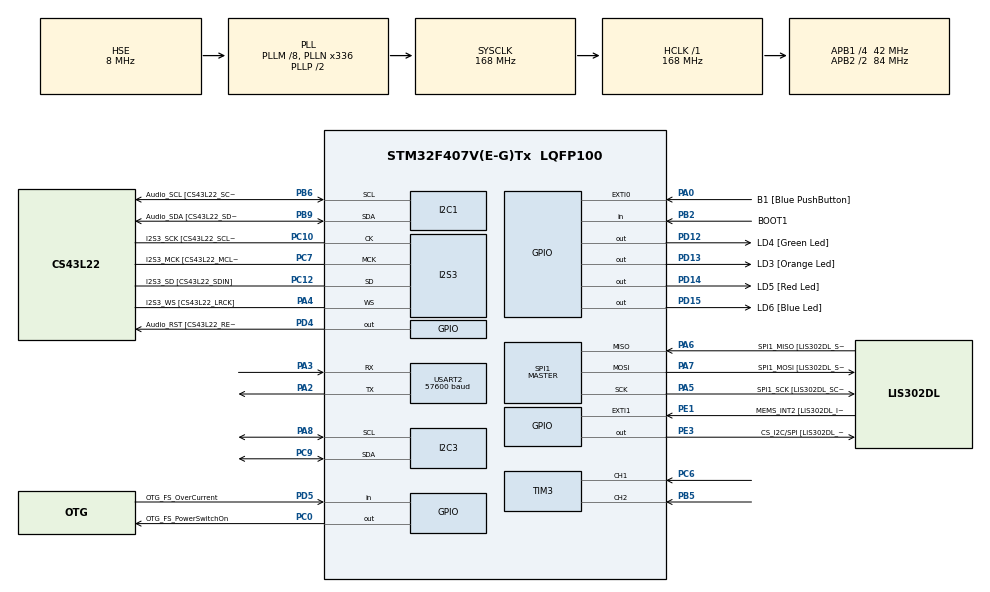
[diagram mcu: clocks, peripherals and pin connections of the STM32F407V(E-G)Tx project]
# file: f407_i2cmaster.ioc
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I2S3.AudioFreq-Half_Duplex_Master=I2S_AUDIOFREQ_96K
I2S3.ErrorAudioFreq=-2.34 %
I2S3.ErrorAudioFreq-Half_Duplex_Master=0.8 %
I2S3.FullDuplexMode=I2S_FULLDUPLEXMODE_DISABLE
I2S3.Instance=SPI$Index
I2S3.RealAudioFreq=93.75 KHz
I2S3.RealAudioFreq-Half_Duplex_Master=96.774 KHz
I2S3.VirtualMode=I2S_MODE_MASTER
Mcu.Family=STM32F4
Mcu.Name=STM32F407V(E-G)Tx
Mcu.Package=LQFP100
NVIC.PriorityGroup=NVIC_PRIORITYGROUP_0
PA0-WKUP.GPIO_Label=B1 [Blue PushButton]
PA0-WKUP.GPIO_ModeDefaultEXTI=GPIO_MODE_EVT_RISING
PA0-WKUP.GPIO_PuPd=GPIO_NOPULL
PA0-WKUP.Signal=GPXTI0
PA10.GPIO_Label=OTG_FS_ID
PA10.GPIO_Mode=GPIO_MODE_AF_PP
PA10.GPIO_PuPd=GPIO_NOPULL
PA10.GPIO_Speed=GPIO_SPEED_FREQ_LOW
PA10.Signal=USB_OTG_FS_ID
PA11.GPIO_Label=OTG_FS_DM
PA11.GPIO_Mode=GPIO_MODE_AF_PP
PA11.GPIO_PuPd=GPIO_NOPULL
PA11.GPIO_Speed=GPIO_SPEED_FREQ_LOW
PA11.Signal=USB_OTG_FS_DM
PA12.GPIO_Label=OTG_FS_DP
PA12.GPIO_Mode=GPIO_MODE_AF_PP
PA12.GPIO_PuPd=GPIO_NOPULL
PA12.GPIO_Speed=GPIO_SPEED_FREQ_LOW
PA12.Signal=USB_OTG_FS_DP
PA13.GPIO_Label=SWDIO
PA13.Mode=Serial_Wire
PA13.Signal=SYS_JTMS-SWDIO
PA14.GPIO_Label=SWCLK
PA14.Mode=Serial_Wire
PA14.Signal=SYS_JTCK-SWCLK
PA2.Mode=Asynchronous
PA2.Signal=USART2_TX
PA3.Mode=Asynchronous
PA3.Signal=USART2_RX
PA4.GPIO_Label=I2S3_WS [CS43L22_LRCK]
PA4.GPIO_Mode=GPIO_MODE_AF_PP
PA4.GPIO_PuPd=GPIO_NOPULL
PA4.GPIO_Speed=GPIO_SPEED_FREQ_LOW
PA4.Mode=Half_Duplex_Master
PA4.Signal=I2S3_WS
PA5.GPIO_Label=SPI1_SCK [LIS302DL_SCL/SPC]
PA5.GPIO_Mode=GPIO_MODE_AF_PP
PA5.GPIO_PuPd=GPIO_NOPULL
PA5.GPIO_Speed=GPIO_SPEED_FREQ_LOW
PA5.Mode=Full_Duplex_Master
PA5.Signal=SPI1_SCK
PA6.GPIO_Label=SPI1_MISO [LIS302DL_SDO]
PA6.GPIO_Mode=GPIO_MODE_AF_PP
PA6.GPIO_PuPd=GPIO_NOPULL
PA6.GPIO_Speed=GPIO_SPEED_FREQ_LOW
PA6.Mode=Full_Duplex_Master
PA6.Signal=SPI1_MISO
PA7.GPIO_Label=SPI1_MOSI [LIS302DL_SDA/SDI/SDO]
PA7.GPIO_Mode=GPIO_MODE_AF_PP
PA7.GPIO_PuPd=GPIO_NOPULL
PA7.GPIO_Speed=GPIO_SPEED_FREQ_LOW
PA7.Mode=Full_Duplex_Master
PA7.Signal=SPI1_MOSI
PA8.Mode=I2C
PA8.Signal=I2C3_SCL
PA9.GPIO_Label=VBUS_FS
PA9.GPIO_Mode=GPIO_MODE_INPUT
PA9.GPIO_PuPd=GPIO_NOPULL
PA9.Signal=USB_OTG_FS_VBUS
PB10.GPIO_Label=CLK_IN [MP45DT02_CLK]
PB10.GPIO_Mode=GPIO_MODE_AF_PP
PB10.GPIO_PuPd=GPIO_NOPULL
PB10.GPIO_Speed=GPIO_SPEED_FREQ_LOW
PB10.Signal=I2S2_CK
PB2.GPIO_Label=BOOT1
PB2.GPIO_Mode=GPIO_MODE_INPUT
PB2.GPIO_PuPd=GPIO_NOPULL
PB2.Signal=GPIO_Input
PB3.GPIO_Label=SWO
PB3.Signal=SYS_JTDO-SWO
PB5.Signal=S_TIM3_CH2
PB6.GPIO_Label=Audio_SCL [CS43L22_SCL]
PB6.GPIO_Mode=GPIO_MODE_AF_OD
PB6.GPIO_Pu=GPIO_PULLUP
PB6.GPIO_PuPd=GPIO_NOPULL
PB6.GPIO_Speed=GPIO_SPEED_FREQ_LOW
PB6.Mode=I2C
PB6.Signal=I2C1_SCL
PB9.GPIO_Label=Audio_SDA [CS43L22_SDA]
PB9.GPIO_Mode=GPIO_MODE_AF_OD
PB9.GPIO_Pu=GPIO_PULLUP
PB9.GPIO_PuPd=GPIO_NOPULL
PB9.GPIO_Speed=GPIO_SPEED_FREQ_LOW
PB9.Mode=I2C
PB9.Signal=I2C1_SDA
PC0.GPIO_Label=OTG_FS_PowerSwitchOn
PC0.GPIO_PuPd=GPIO_NOPULL
PC0.GPIO_Speed=GPIO_SPEED_FREQ_LOW
PC0.PinState=GPIO_PIN_SET
PC0.Signal=GPIO_Output
PC10.GPIO_Label=I2S3_SCK [CS43L22_SCLK]
PC10.GPIO_Mode=GPIO_MODE_AF_PP
PC10.GPIO_PuPd=GPIO_NOPULL
PC10.GPIO_Speed=GPIO_SPEED_FREQ_LOW
PC10.Mode=Half_Duplex_Master
PC10.Signal=I2S3_CK
PC12.GPIO_Label=I2S3_SD [CS43L22_SDIN]
PC12.GPIO_Mode=GPIO_MODE_AF_PP
PC12.GPIO_PuPd=GPIO_NOPULL
PC12.GPIO_Speed=GPIO_SPEED_FREQ_LOW
PC12.Mode=Half_Duplex_Master
PC12.Signal=I2S3_SD
PC14-OSC32_IN.GPIO_Label=PC14-OSC32_IN
PC14-OSC32_IN.Mode=LSE-External-Oscillator
PC14-OSC32_IN.Signal=RCC_OSC32_IN
PC15-OSC32_OUT.GPIO_Label=PC15-OSC32_OUT
PC15-OSC32_OUT.Mode=LSE-External-Oscillator
PC15-OSC32_OUT.Signal=RCC_OSC32_OUT
PC3.GPIO_Label=PDM_OUT [MP45DT02_DOUT]
PC3.GPIO_Mode=GPIO_MODE_AF_PP
PC3.GPIO_PuPd=GPIO_NOPULL
PC3.GPIO_Speed=GPIO_SPEED_FREQ_LOW
PC3.Signal=I2S2_SD
PC6.Signal=S_TIM3_CH1
PC7.GPIO_Label=I2S3_MCK [CS43L22_MCLK]
PC7.GPIO_Mode=GPIO_MODE_AF_PP
PC7.GPIO_PuPd=GPIO_NOPULL
PC7.GPIO_Speed=GPIO_SPEED_FREQ_LOW
PC7.Mode=Master_Clock_Activated
PC7.Signal=I2S3_MCK
PC9.Mode=I2C
PC9.Signal=I2C3_SDA
PD12.GPIO_Label=LD4 [Green Led]
PD12.GPIO_PuPd=GPIO_NOPULL
PD12.GPIO_Speed=GPIO_SPEED_FREQ_LOW
PD12.Signal=GPIO_Output
PD13.GPIO_Label=LD3 [Orange Led]
PD13.GPIO_PuPd=GPIO_NOPULL
PD13.GPIO_Speed=GPIO_SPEED_FREQ_LOW
PD13.Signal=GPIO_Output
PD14.GPIO_Label=LD5 [Red Led]
PD14.GPIO_PuPd=GPIO_NOPULL
PD14.GPIO_Speed=GPIO_SPEED_FREQ_LOW
PD14.Signal=GPIO_Output
PD15.GPIO_Label=LD6 [Blue Led]
PD15.GPIO_PuPd=GPIO_NOPULL
PD15.GPIO_Speed=GPIO_SPEED_FREQ_LOW
PD15.Signal=GPIO_Output
PD4.GPIO_Label=Audio_RST [CS43L22_RESET]
PD4.GPIO_PuPd=GPIO_NOPULL
PD4.GPIO_Speed=GPIO_SPEED_FREQ_LOW
PD4.Signal=GPIO_Output
PD5.GPIO_Label=OTG_FS_OverCurrent
PD5.GPIO_Mode=GPIO_MODE_INPUT
PD5.GPIO_PuPd=GPIO_NOPULL
PD5.Signal=GPIO_Input
PE1.GPIO_Label=MEMS_INT2 [LIS302DL_INT2]
PE1.GPIO_ModeDefaultEXTI=GPIO_MODE_EVT_RISING
PE1.GPIO_PuPd=GPIO_NOPULL
PE1.Signal=GPXTI1
PE3.GPIO_Label=CS_I2C/SPI [LIS302DL_CS_I2C/SPI]
PE3.GPIO_PuPd=GPIO_NOPULL
PE3.GPIO_Speed=GPIO_SPEED_FREQ_LOW
PE3.Signal=GPIO_Output
PH0-OSC_IN.GPIO_Label=PH0-OSC_IN
PH0-OSC_IN.Mode=HSE-External-Oscillator
PH0-OSC_IN.Signal=RCC_OSC_IN
PH1-OSC_OUT.GPIO_Label=PH1-OSC_OUT
PH1-OSC_OUT.Mode=HSE-External-Oscillator
PH1-OSC_OUT.Signal=RCC_OSC_OUT
ProjectManager.HeapSize=0x200
ProjectManager.StackSize=0x400
ProjectManager.TargetToolchain=STM32CubeIDE
RCC.48MHZClocksFreq_Value=48000000
RCC.AHBFreq_Value=168000000
RCC.APB1CLKDivider=RCC_HCLK_DIV4
RCC.APB1Freq_Value=42000000
RCC.APB1TimFreq_Value=84000000
RCC.APB2CLKDivider=RCC_HCLK_DIV2
RCC.APB2Freq_Value=84000000
RCC.APB2TimFreq_Value=168000000
RCC.CortexFreq_Value=168000000
RCC.HCLKFreq_Value=168000000
RCC.HSE_VALUE=8000000
RCC.HSI_VALUE=16000000
RCC.PLLM=8
RCC.PLLN=336
RCC.PLLQ=7
RCC.PLLSourceVirtual=RCC_PLLSOURCE_HSE
RCC.SYSCLKFreq_VALUE=168000000
RCC.SYSCLKSource=RCC_SYSCLKSOURCE_PLLCLK
RCC.VCOOutputFreq_Value=336000000
SH.S_TIM3_CH1.0=TIM3_CH1,Encoder_Interface
SH.S_TIM3_CH2.0=TIM3_CH2,Encoder_Interface
SPI1.BaudRatePrescaler-Full_Duplex_Master=SPI_BAUDRATEPRESCALER_2
SPI1.CalculateBaudRate-Full_Duplex_Master=42.0 MBits/s
SPI1.Direction=SPI_DIRECTION_2LINES
SPI1.Mode=SPI_MODE_MASTER
SPI1.Mode-Full_Duplex_Master=SPI_MODE_MASTER
SPI1.VirtualType=VM_MASTER
USART2.BaudRate=57600
USART2.VirtualMode=VM_ASYNC
board=STM32F407G-DISC1

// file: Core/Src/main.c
/* USER CODE BEGIN Header */
/**
  ******************************************************************************
  * @file           : main.c
  * @brief          : Main program body
  ******************************************************************************
  * @attention
  *
  * Copyright (c) 2023 STMicroelectronics.
  * All rights reserved.
  *
  * This software is licensed under terms that can be found in the LICENSE file
  * in the root directory of this software component.
  * If no LICENSE file comes with this software, it is provided AS-IS.
  *
  ******************************************************************************
  */
/* USER CODE END Header */
#include "main.h"

/* USER CODE BEGIN Includes */
#include "ina260.h"
/* USER CODE END Includes */

I2C_HandleTypeDef hi2c1;
I2C_HandleTypeDef hi2c3;

I2S_HandleTypeDef hi2s3;

SPI_HandleTypeDef hspi1;

TIM_HandleTypeDef htim3;

UART_HandleTypeDef huart2;

/* USER CODE BEGIN PV */
float voltage, current;
/* USER CODE END PV */

void SystemClock_Config(void);
static void MX_GPIO_Init(void);
static void MX_I2C1_Init(void);
static void MX_I2S3_Init(void);
static void MX_SPI1_Init(void);
static void MX_I2C3_Init(void);
static void MX_USART2_UART_Init(void);
static void MX_TIM3_Init(void);

/* USER CODE BEGIN 0 */
uint8_t rx_buffer_i2c[50]={'0','1','2','3','4','5','6','7','8','9'};
/* USER CODE END 0 */

int main(void)
{

  /* MCU Configuration--------------------------------------------------------*/

  /* Reset of all peripherals, Initializes the Flash interface and the Systick. */
  HAL_Init();

  /* Configure the system clock */
  SystemClock_Config();

  /* Initialize all configured peripherals */
  MX_GPIO_Init();
  MX_I2C1_Init();
  MX_I2S3_Init();
  MX_SPI1_Init();
  MX_I2C3_Init();
  MX_USART2_UART_Init();
  MX_TIM3_Init();
  /* USER CODE BEGIN 2 */
  ina260_t * inasensor = ina260_new(&hi2c3, 0x40);
  /* USER CODE END 2 */

  /* Infinite loop */
  while (1)
  {

    /* USER CODE BEGIN 3 */
	  HAL_GPIO_TogglePin (GPIOA, GPIO_PIN_5);
	  ina260_status_t inasenor_status =  ina260_ready(inasensor);
	  /*
	   HAL_OK      - success
	  *             HAL_ERROR   - I2C read error or invalid arguments
	  *             HAL_BUSY    - I2C bus busy
	  *             HAL_TIMEOUT - I2C communication timeout. see timeout constant
	  *                           INA260_I2C_READ_TIMEOUT_MS in ina260.c
	  */
	  if (inasenor_status==HAL_OK){
		  memset(rx_buffer_i2c, 0, 50);
		  inasenor_status = ina260_get_voltage(inasensor, &voltage);
		  inasenor_status = ina260_get_current(inasensor, &current);

		  if (inasenor_status==HAL_OK){
			  //sprintf(rx_buffer_i2c, "curr %03u mA\n", ((int)current)%1000);
			  sprintf(rx_buffer_i2c, "vol %d.%d V, \ncurr %d.%03d A\n", (int)voltage/1000, (int)voltage%1000,
				  ((int)current)/1000, ((int)current)%1000);
		  }
		  //inasenor_status = ina260_get_voltage(inasensor, &voltage);
	  }
	  else
		  sprintf(rx_buffer_i2c, "i2c error %u .", inasenor_status);
	  //HAL_I2C_Master_Transmit(&hi2c3,20,TX_Buffer,1,1000); //Sending in Blocking mode
	 // HAL_I2C_Master_Receive(&hi2c3, (0x40<<1), (uint8_t*) rx_buffer_i2c,1,3000);
	  HAL_UART_Transmit(&huart2, rx_buffer_i2c, 50, 1000); //pc6,7 tx/rx
	  HAL_Delay(2000);
  }
  /* USER CODE END 3 */
}

void SystemClock_Config(void)
{
  RCC_OscInitTypeDef RCC_OscInitStruct = {0};
  RCC_ClkInitTypeDef RCC_ClkInitStruct = {0};

  /** Configure the main internal regulator output voltage
  */
  __HAL_RCC_PWR_CLK_ENABLE();
  __HAL_PWR_VOLTAGESCALING_CONFIG(PWR_REGULATOR_VOLTAGE_SCALE1);

  /** Initializes the RCC Oscillators according to the specified parameters
  * in the RCC_OscInitTypeDef structure.
  */
  RCC_OscInitStruct.OscillatorType = RCC_OSCILLATORTYPE_HSE;
  RCC_OscInitStruct.HSEState = RCC_HSE_ON;
  RCC_OscInitStruct.PLL.PLLState = RCC_PLL_ON;
  RCC_OscInitStruct.PLL.PLLSource = RCC_PLLSOURCE_HSE;
  RCC_OscInitStruct.PLL.PLLM = 8;
  RCC_OscInitStruct.PLL.PLLN = 336;
  RCC_OscInitStruct.PLL.PLLP = RCC_PLLP_DIV2;
  RCC_OscInitStruct.PLL.PLLQ = 7;
  if (HAL_RCC_OscConfig(&RCC_OscInitStruct) != HAL_OK)
  {
    Error_Handler();
  }

  /** Initializes the CPU, AHB and APB buses clocks
  */
  RCC_ClkInitStruct.ClockType = RCC_CLOCKTYPE_HCLK|RCC_CLOCKTYPE_SYSCLK
                              |RCC_CLOCKTYPE_PCLK1|RCC_CLOCKTYPE_PCLK2;
  RCC_ClkInitStruct.SYSCLKSource = RCC_SYSCLKSOURCE_PLLCLK;
  RCC_ClkInitStruct.AHBCLKDivider = RCC_SYSCLK_DIV1;
  RCC_ClkInitStruct.APB1CLKDivider = RCC_HCLK_DIV4;
  RCC_ClkInitStruct.APB2CLKDivider = RCC_HCLK_DIV2;

  if (HAL_RCC_ClockConfig(&RCC_ClkInitStruct, FLASH_LATENCY_5) != HAL_OK)
  {
    Error_Handler();
  }
}

static void MX_I2C1_Init(void)
{

  hi2c1.Instance = I2C1;
  hi2c1.Init.ClockSpeed = 100000;
  hi2c1.Init.DutyCycle = I2C_DUTYCYCLE_2;
  hi2c1.Init.OwnAddress1 = 0;
  hi2c1.Init.AddressingMode = I2C_ADDRESSINGMODE_7BIT;
  hi2c1.Init.DualAddressMode = I2C_DUALADDRESS_DISABLE;
  hi2c1.Init.OwnAddress2 = 0;
  hi2c1.Init.GeneralCallMode = I2C_GENERALCALL_DISABLE;
  hi2c1.Init.NoStretchMode = I2C_NOSTRETCH_DISABLE;
  if (HAL_I2C_Init(&hi2c1) != HAL_OK)
  {
    Error_Handler();
  }

}

static void MX_I2C3_Init(void)
{

  hi2c3.Instance = I2C3;
  hi2c3.Init.ClockSpeed = 100000;
  hi2c3.Init.DutyCycle = I2C_DUTYCYCLE_2;
  hi2c3.Init.OwnAddress1 = 0;
  hi2c3.Init.AddressingMode = I2C_ADDRESSINGMODE_7BIT;
  hi2c3.Init.DualAddressMode = I2C_DUALADDRESS_DISABLE;
  hi2c3.Init.OwnAddress2 = 0;
  hi2c3.Init.GeneralCallMode = I2C_GENERALCALL_DISABLE;
  hi2c3.Init.NoStretchMode = I2C_NOSTRETCH_DISABLE;
  if (HAL_I2C_Init(&hi2c3) != HAL_OK)
  {
    Error_Handler();
  }

}

static void MX_I2S3_Init(void)
{

  hi2s3.Instance = SPI3;
  hi2s3.Init.Mode = I2S_MODE_MASTER_TX;
  hi2s3.Init.Standard = I2S_STANDARD_PHILIPS;
  hi2s3.Init.DataFormat = I2S_DATAFORMAT_16B;
  hi2s3.Init.MCLKOutput = I2S_MCLKOUTPUT_ENABLE;
  hi2s3.Init.AudioFreq = I2S_AUDIOFREQ_96K;
  hi2s3.Init.CPOL = I2S_CPOL_LOW;
  hi2s3.Init.ClockSource = I2S_CLOCK_PLL;
  hi2s3.Init.FullDuplexMode = I2S_FULLDUPLEXMODE_DISABLE;
  if (HAL_I2S_Init(&hi2s3) != HAL_OK)
  {
    Error_Handler();
  }

}

static void MX_SPI1_Init(void)
{

  /* SPI1 parameter configuration*/
  hspi1.Instance = SPI1;
  hspi1.Init.Mode = SPI_MODE_MASTER;
  hspi1.Init.Direction = SPI_DIRECTION_2LINES;
  hspi1.Init.DataSize = SPI_DATASIZE_8BIT;
  hspi1.Init.CLKPolarity = SPI_POLARITY_LOW;
  hspi1.Init.CLKPhase = SPI_PHASE_1EDGE;
  hspi1.Init.NSS = SPI_NSS_SOFT;
  hspi1.Init.BaudRatePrescaler = SPI_BAUDRATEPRESCALER_2;
  hspi1.Init.FirstBit = SPI_FIRSTBIT_MSB;
  hspi1.Init.TIMode = SPI_TIMODE_DISABLE;
  hspi1.Init.CRCCalculation = SPI_CRCCALCULATION_DISABLE;
  hspi1.Init.CRCPolynomial = 10;
  if (HAL_SPI_Init(&hspi1) != HAL_OK)
  {
    Error_Handler();
  }

}

static void MX_TIM3_Init(void)
{

  TIM_Encoder_InitTypeDef sConfig = {0};
  TIM_MasterConfigTypeDef sMasterConfig = {0};

  htim3.Instance = TIM3;
  htim3.Init.Prescaler = 0;
  htim3.Init.CounterMode = TIM_COUNTERMODE_UP;
  htim3.Init.Period = 65535;
  htim3.Init.ClockDivision = TIM_CLOCKDIVISION_DIV1;
  htim3.Init.AutoReloadPreload = TIM_AUTORELOAD_PRELOAD_DISABLE;
  sConfig.EncoderMode = TIM_ENCODERMODE_TI1;
  sConfig.IC1Polarity = TIM_ICPOLARITY_RISING;
  sConfig.IC1Selection = TIM_ICSELECTION_DIRECTTI;
  sConfig.IC1Prescaler = TIM_ICPSC_DIV1;
  sConfig.IC1Filter = 0;
  sConfig.IC2Polarity = TIM_ICPOLARITY_RISING;
  sConfig.IC2Selection = TIM_ICSELECTION_DIRECTTI;
  sConfig.IC2Prescaler = TIM_ICPSC_DIV1;
  sConfig.IC2Filter = 0;
  if (HAL_TIM_Encoder_Init(&htim3, &sConfig) != HAL_OK)
  {
    Error_Handler();
  }
  sMasterConfig.MasterOutputTrigger = TIM_TRGO_RESET;
  sMasterConfig.MasterSlaveMode = TIM_MASTERSLAVEMODE_DISABLE;
  if (HAL_TIMEx_MasterConfigSynchronization(&htim3, &sMasterConfig) != HAL_OK)
  {
    Error_Handler();
  }

}

static void MX_USART2_UART_Init(void)
{

  huart2.Instance = USART2;
  huart2.Init.BaudRate = 57600;
  huart2.Init.WordLength = UART_WORDLENGTH_8B;
  huart2.Init.StopBits = UART_STOPBITS_1;
  huart2.Init.Parity = UART_PARITY_NONE;
  huart2.Init.Mode = UART_MODE_TX_RX;
  huart2.Init.HwFlowCtl = UART_HWCONTROL_NONE;
  huart2.Init.OverSampling = UART_OVERSAMPLING_16;
  if (HAL_UART_Init(&huart2) != HAL_OK)
  {
    Error_Handler();
  }

}

static void MX_GPIO_Init(void)
{
  GPIO_InitTypeDef GPIO_InitStruct = {0};

  /* GPIO Ports Clock Enable */
  __HAL_RCC_GPIOE_CLK_ENABLE();
  __HAL_RCC_GPIOC_CLK_ENABLE();
  __HAL_RCC_GPIOH_CLK_ENABLE();
  __HAL_RCC_GPIOA_CLK_ENABLE();
  __HAL_RCC_GPIOB_CLK_ENABLE();
  __HAL_RCC_GPIOD_CLK_ENABLE();

  /*Configure GPIO pin Output Level */
  HAL_GPIO_WritePin(CS_I2C_SPI_GPIO_Port, CS_I2C_SPI_Pin, GPIO_PIN_RESET);

  /*Configure GPIO pin Output Level */
  HAL_GPIO_WritePin(OTG_FS_PowerSwitchOn_GPIO_Port, OTG_FS_PowerSwitchOn_Pin, GPIO_PIN_SET);

  /*Configure GPIO pin Output Level */
  HAL_GPIO_WritePin(GPIOD, LD4_Pin|LD3_Pin|LD5_Pin|LD6_Pin
                          |Audio_RST_Pin, GPIO_PIN_RESET);

  /*Configure GPIO pin : CS_I2C_SPI_Pin */
  GPIO_InitStruct.Pin = CS_I2C_SPI_Pin;
  GPIO_InitStruct.Mode = GPIO_MODE_OUTPUT_PP;
  GPIO_InitStruct.Pull = GPIO_NOPULL;
  GPIO_InitStruct.Speed = GPIO_SPEED_FREQ_LOW;
  HAL_GPIO_Init(CS_I2C_SPI_GPIO_Port, &GPIO_InitStruct);

  /*Configure GPIO pin : OTG_FS_PowerSwitchOn_Pin */
  GPIO_InitStruct.Pin = OTG_FS_PowerSwitchOn_Pin;
  GPIO_InitStruct.Mode = GPIO_MODE_OUTPUT_PP;
  GPIO_InitStruct.Pull = GPIO_NOPULL;
  GPIO_InitStruct.Speed = GPIO_SPEED_FREQ_LOW;
  HAL_GPIO_Init(OTG_FS_PowerSwitchOn_GPIO_Port, &GPIO_InitStruct);

  /*Configure GPIO pin : PDM_OUT_Pin */
  GPIO_InitStruct.Pin = PDM_OUT_Pin;
  GPIO_InitStruct.Mode = GPIO_MODE_AF_PP;
  GPIO_InitStruct.Pull = GPIO_NOPULL;
  GPIO_InitStruct.Speed = GPIO_SPEED_FREQ_LOW;
  GPIO_InitStruct.Alternate = GPIO_AF5_SPI2;
  HAL_GPIO_Init(PDM_OUT_GPIO_Port, &GPIO_InitStruct);

  /*Configure GPIO pin : B1_Pin */
  GPIO_InitStruct.Pin = B1_Pin;
  GPIO_InitStruct.Mode = GPIO_MODE_EVT_RISING;
  GPIO_InitStruct.Pull = GPIO_NOPULL;
  HAL_GPIO_Init(B1_GPIO_Port, &GPIO_InitStruct);

  /*Configure GPIO pin : BOOT1_Pin */
  GPIO_InitStruct.Pin = BOOT1_Pin;
  GPIO_InitStruct.Mode = GPIO_MODE_INPUT;
  GPIO_InitStruct.Pull = GPIO_NOPULL;
  HAL_GPIO_Init(BOOT1_GPIO_Port, &GPIO_InitStruct);

  /*Configure GPIO pin : CLK_IN_Pin */
  GPIO_InitStruct.Pin = CLK_IN_Pin;
  GPIO_InitStruct.Mode = GPIO_MODE_AF_PP;
  GPIO_InitStruct.Pull = GPIO_NOPULL;
  GPIO_InitStruct.Speed = GPIO_SPEED_FREQ_LOW;
  GPIO_InitStruct.Alternate = GPIO_AF5_SPI2;
  HAL_GPIO_Init(CLK_IN_GPIO_Port, &GPIO_InitStruct);

  /*Configure GPIO pins : LD4_Pin LD3_Pin LD5_Pin LD6_Pin
                           Audio_RST_Pin */
  GPIO_InitStruct.Pin = LD4_Pin|LD3_Pin|LD5_Pin|LD6_Pin
                          |Audio_RST_Pin;
  GPIO_InitStruct.Mode = GPIO_MODE_OUTPUT_PP;
  GPIO_InitStruct.Pull = GPIO_NOPULL;
  GPIO_InitStruct.Speed = GPIO_SPEED_FREQ_LOW;
  HAL_GPIO_Init(GPIOD, &GPIO_InitStruct);

  /*Configure GPIO pin : VBUS_FS_Pin */
  GPIO_InitStruct.Pin = VBUS_FS_Pin;
  GPIO_InitStruct.Mode = GPIO_MODE_INPUT;
  GPIO_InitStruct.Pull = GPIO_NOPULL;
  HAL_GPIO_Init(VBUS_FS_GPIO_Port, &GPIO_InitStruct);

  /*Configure GPIO pins : OTG_FS_ID_Pin OTG_FS_DM_Pin OTG_FS_DP_Pin */
  GPIO_InitStruct.Pin = OTG_FS_ID_Pin|OTG_FS_DM_Pin|OTG_FS_DP_Pin;
  GPIO_InitStruct.Mode = GPIO_MODE_AF_PP;
  GPIO_InitStruct.Pull = GPIO_NOPULL;
  GPIO_InitStruct.Speed = GPIO_SPEED_FREQ_LOW;
  GPIO_InitStruct.Alternate = GPIO_AF10_OTG_FS;
  HAL_GPIO_Init(GPIOA, &GPIO_InitStruct);

  /*Configure GPIO pin : OTG_FS_OverCurrent_Pin */
  GPIO_InitStruct.Pin = OTG_FS_OverCurrent_Pin;
  GPIO_InitStruct.Mode = GPIO_MODE_INPUT;
  GPIO_InitStruct.Pull = GPIO_NOPULL;
  HAL_GPIO_Init(OTG_FS_OverCurrent_GPIO_Port, &GPIO_InitStruct);

  /*Configure GPIO pin : MEMS_INT2_Pin */
  GPIO_InitStruct.Pin = MEMS_INT2_Pin;
  GPIO_InitStruct.Mode = GPIO_MODE_EVT_RISING;
  GPIO_InitStruct.Pull = GPIO_NOPULL;
  HAL_GPIO_Init(MEMS_INT2_GPIO_Port, &GPIO_InitStruct);

}

void Error_Handler(void)
{
  __disable_irq();
  while (1)
  {
  }
}
